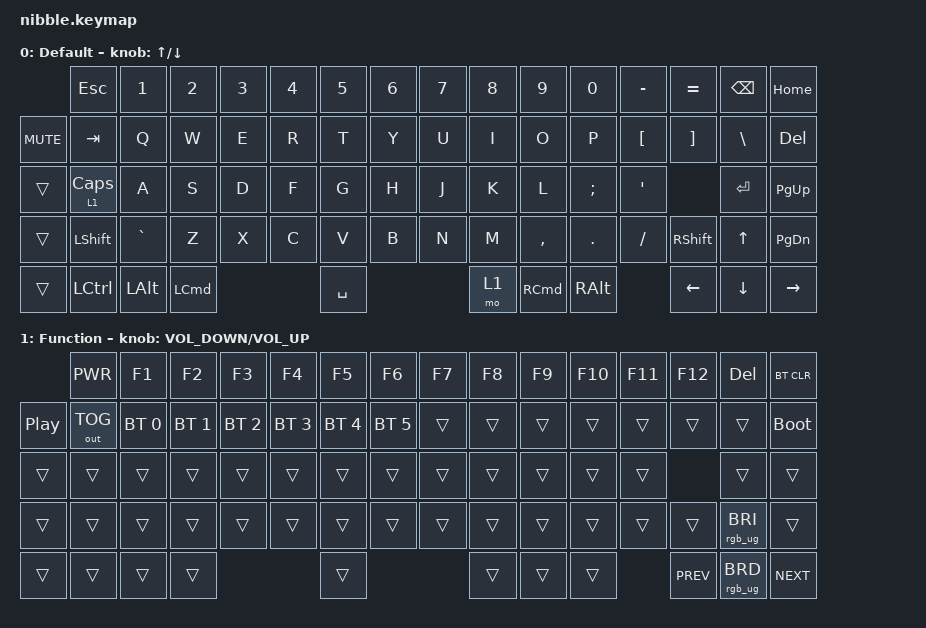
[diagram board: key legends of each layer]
/*
 * Copyright (c) 2020 The ZMK Contributors
 *
 * SPDX-License-Identifier: MIT
 */

#include <behaviors.dtsi>
#include <dt-bindings/zmk/keys.h>
#include <dt-bindings/zmk/bt.h>
#include <dt-bindings/zmk/outputs.h>
#include <dt-bindings/zmk/rgb.h>

/ {
	sensors {
		compatible = "zmk,keymap-sensors";
		sensors = <&encoder_1>;
	};

  behaviors {
    cm: caps_mod {
      compatible = "zmk,behavior-hold-tap";
      label = "CAPS_LOCK_MODS";
      #binding-cells = <2>;
      tapping-term-ms = <150>;
      flavor = "hold-preferred";
      bindings = <&mo>, <&kp>;
    };
  };

	keymap {
		compatible = "zmk,keymap";

		default_layer {
			label = "Default";

			sensor-bindings = <&inc_dec_kp UP DOWN>;

			bindings = <
            &kp ESC   &kp N1    &kp N2    &kp N3    &kp N4    &kp N5    &kp N6    &kp N7    &kp N8  &kp N9    &kp N0   &kp MINUS &kp EQUAL &kp BSPC &kp HOME
&kp C_MUTE  &kp TAB   &kp Q     &kp W     &kp E     &kp R     &kp T     &kp Y     &kp U     &kp I   &kp O     &kp P    &kp LBKT  &kp RBKT  &kp BSLH &kp DEL
&trans      &cm 1 CLCK  &kp A     &kp S     &kp D     &kp F     &kp G     &kp H     &kp J     &kp K   &kp L     &kp SEMI &kp SQT             &kp RET  &kp PG_UP
&trans      &kp LSHFT &kp GRAVE &kp Z     &kp X     &kp C     &kp V     &kp B     &kp N     &kp M   &kp COMMA &kp DOT  &kp FSLH  &kp RSHFT &kp UP   &kp PG_DN
&trans      &kp LCTRL &kp LALT  &kp LCMD                      &kp SPACE                     &mo 1   &kp RCMD  &kp RALT           &kp LEFT  &kp DOWN &kp RIGHT
			>;
		};

		function_layer {
			label = "Function";

			sensor-bindings = <&inc_dec_kp C_VOLUME_DOWN C_VOLUME_UP>;

			bindings = <
          &kp C_PWR     &kp F1       &kp F2       &kp F3       &kp F4       &kp F5       &kp F6       &kp F7    &kp F8    &kp F9    &kp F10   &kp F11   &kp F12       &kp DEL         &bt BT_CLR
&kp C_PP  &out OUT_TOG  &bt BT_SEL 0 &bt BT_SEL 1 &bt BT_SEL 2 &bt BT_SEL 3 &bt BT_SEL 4 &bt BT_SEL 5 &trans    &trans    &trans    &trans    &trans    &trans        &trans          &bootloader
&trans    &trans        &trans       &trans       &trans       &trans       &trans       &trans       &trans    &trans    &trans    &trans    &trans                  &trans          &trans
&trans    &trans        &trans       &trans       &trans       &trans       &trans       &trans       &trans    &trans    &trans    &trans    &trans    &trans        &rgb_ug RGB_BRI &trans
&trans    &trans        &trans       &trans                                 &trans                              &trans    &trans    &trans              &kp C_PREV    &rgb_ug RGB_BRD &kp C_NEXT
			>;
		};
	};
};
